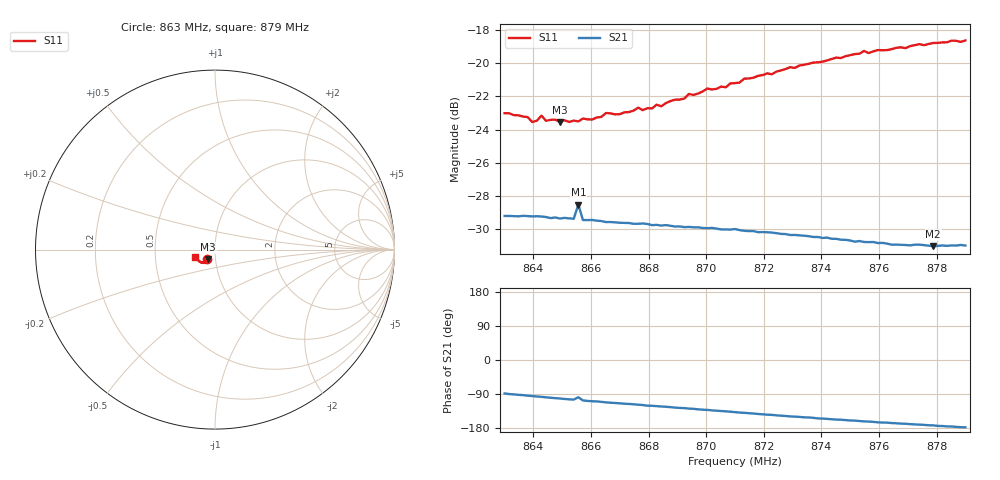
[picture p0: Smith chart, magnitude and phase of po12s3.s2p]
# HZ S RI R 50
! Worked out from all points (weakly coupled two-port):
!   101 points, 863 MHz to 879 MHz, reference 50 ohm
!   highest |S21| = -28.52 dB at 865.56 MHz (marker M1); lowest = -31.0 dB at 877.88 MHz (marker M2)
!   lowest |S11| = -23.5 dB at 864.92 MHz (marker M3), VSWR 1.14, Z = 46.1 - j5.09 ohm
!   |S11| at or under -10 dB: start of sweep to end of sweep
!   S12 and S22 are empty: the file has one direction only
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8.63e8  -0.0449 -0.0546  0.00105 -0.0346  0 0  0 0
8.638e8  -0.0422 -0.0544  -0.00246 -0.0345  0 0  0 0
8.6396e8  -0.0401 -0.053  -0.0031 -0.0344  0 0  0 0
8.6428e8  -0.0408 -0.0562  -0.00437 -0.0342  0 0  0 0
8.6444e8  -0.0385 -0.0549  -0.00506 -0.034  0 0  0 0
8.6492e8  -0.0374 -0.0549  -0.00684 -0.0334  0 0  0 0
8.654e8  -0.0369 -0.0561  -0.00855 -0.0329  0 0  0 0
8.6556e8  -0.0228 -0.0627  -0.00534 -0.0371  0 0  0 0
8.6572e8  -0.0365 -0.0576  -0.00969 -0.0323  0 0  0 0
8.6604e8  -0.0352 -0.0578  -0.0109 -0.0319  0 0  0 0
8.6652e8  -0.0368 -0.0605  -0.0123 -0.0309  0 0  0 0
8.67e8  -0.0355 -0.0606  -0.0136 -0.0301  0 0  0 0
8.6844e8  -0.0373 -0.0641  -0.0175 -0.0273  0 0  0 0
8.6924e8  -0.0394 -0.0676  -0.0193 -0.0256  0 0  0 0
8.694e8  -0.0413 -0.0695  -0.0199 -0.0252  0 0  0 0
8.71e8  -0.0477 -0.0728  -0.0234 -0.0214  0 0  0 0
8.7372e8  -0.0678 -0.0741  -0.0266 -0.0138  0 0  0 0
8.7548e8  -0.0845 -0.0686  -0.0275 -0.00894  0 0  0 0
8.7564e8  -0.0841 -0.0665  -0.0276 -0.0087  0 0  0 0
8.7644e8  -0.0915 -0.0614  -0.0276 -0.00667  0 0  0 0
8.7788e8  -0.1035 -0.0501  -0.0279 -0.0037  0 0  0 0
8.79e8  -0.1102 -0.0394  -0.0282 -0.00119  0 0  0 0
